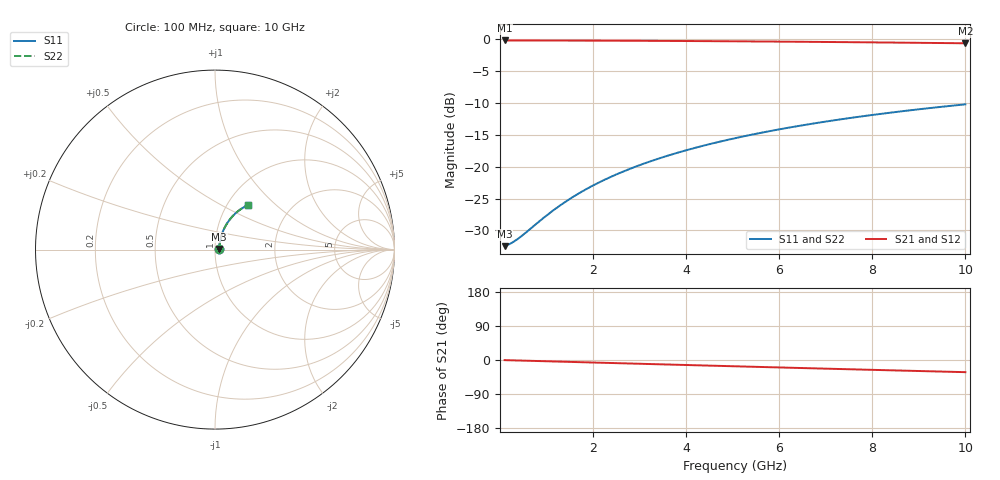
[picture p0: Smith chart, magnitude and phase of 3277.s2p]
# Hz S RI R 50.00
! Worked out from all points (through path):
!   100 points, 100 MHz to 10 GHz, reference 50 ohm
!   highest |S21| = -0.21 dB at 100 MHz (marker M1); lowest = -0.7 dB at 10 GHz (marker M2)
!   group delay of S21, straight-line fit = 8.93 ps
!   lowest |S11| = -32.5 dB at 100 MHz (marker M3), VSWR 1.05, Z = 52.4 + j0.338 ohm
!   |S11| at or under -10 dB: start of sweep to end of sweep
!   |S22| runs from -32.5 to -10.2 dB; largest |S21 - S12| = 0
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1e8  0.0236 0.00322  0.9764 -0.00566  0.9764 -0.00566  0.0236 0.00322
2e8  0.0238 0.00643  0.9762 -0.0113  0.9762 -0.0113  0.0238 0.00643
3e8  0.024 0.00965  0.976 -0.017  0.976 -0.017  0.024 0.00965
4e8  0.0242 0.0129  0.9757 -0.0226  0.9757 -0.0226  0.0242 0.0129
9e8  0.0257 0.0289  0.974 -0.0508  0.974 -0.0508  0.0257 0.0289
1.2e9  0.027 0.0384  0.9725 -0.0677  0.9725 -0.0677  0.027 0.0384
1.5e9  0.0287 0.0479  0.9706 -0.0845  0.9706 -0.0845  0.0287 0.0479
1.8e9  0.0306 0.0573  0.9684 -0.1012  0.9684 -0.1012  0.0306 0.0573
2.1e9  0.0328 0.0666  0.9658 -0.1179  0.9658 -0.1179  0.0328 0.0666
2.5e9  0.0363 0.0789  0.9618 -0.1399  0.9618 -0.1399  0.0363 0.0789
2.9e9  0.0403 0.091  0.9571 -0.1618  0.9571 -0.1618  0.0403 0.091
3.4e9  0.0461 0.1058  0.9503 -0.1888  0.9503 -0.1888  0.0461 0.1058
3.8e9  0.0513 0.1173  0.9442 -0.2101  0.9442 -0.2101  0.0513 0.1173
4.2e9  0.057 0.1285  0.9376 -0.2311  0.9376 -0.2311  0.057 0.1285
4.6e9  0.0632 0.1395  0.9303 -0.2518  0.9303 -0.2518  0.0632 0.1395
5.1e9  0.0716 0.1527  0.9204 -0.2773  0.9204 -0.2773  0.0716 0.1527
5.9e9  0.0864 0.1726  0.9029 -0.3168  0.9029 -0.3168  0.0864 0.1726
6.7e9  0.1028 0.191  0.8834 -0.3548  0.8834 -0.3548  0.1028 0.191
7.5e9  0.1206 0.2076  0.8621 -0.3911  0.8621 -0.3911  0.1206 0.2076
8.4e9  0.142 0.2242  0.8362 -0.4298  0.8362 -0.4298  0.142 0.2242
9.2e9  0.1621 0.2369  0.8118 -0.4623  0.8118 -0.4623  0.1621 0.2369
1e10  0.1829 0.2478  0.7861 -0.4929  0.7861 -0.4929  0.1829 0.2478
